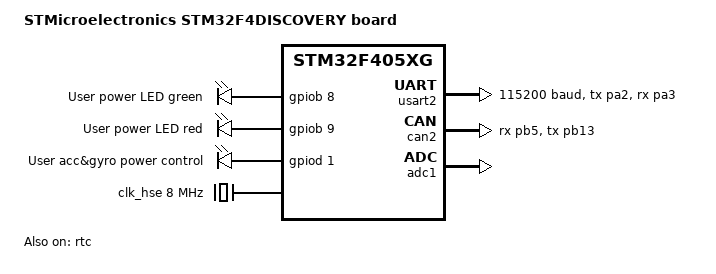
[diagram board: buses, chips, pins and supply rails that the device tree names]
/*
 * Copyright (c) 2017 Linaro Limited
 *
 * SPDX-License-Identifier: Apache-2.0
 */

/dts-v1/;
#include <st/f4/stm32f405Xg.dtsi>
#include <st/f4/stm32f405o(e-g)yx-pinctrl.dtsi>
#include <zephyr/dt-bindings/input/input-event-codes.h>

/ {
	model = "STMicroelectronics STM32F4DISCOVERY board";
	compatible = "st,stm32f4discovery";

	chosen {
		zephyr,console    = &usart2;
		zephyr,shell-uart = &usart2;
		zephyr,sram       = &sram0;
		zephyr,flash      = &flash0;
		zephyr,ccm        = &ccm0;
		zephyr,canbus     = &can2;
	};

	leds {
		compatible = "gpio-leds";
		led_g: gpio_01 {
			gpios = <&gpiob 8 GPIO_ACTIVE_HIGH>;
			label = "User power LED green";
		};
		led_r: gpio_02 {
			gpios = <&gpiob 9 GPIO_ACTIVE_HIGH>;
			label = "User power LED red";
		};
        acc_pm: gpio_03 {
			gpios = <&gpiod 1 GPIO_ACTIVE_HIGH>;
			label = "User acc&gyro power control";
		};
	};

	aliases {
        led0   = &led_g;
        led2   = &led_r;
        accpm0 = &acc_pm;
	};
};

&clk_lsi {
	status = "okay";
};

&clk_hse {
	clock-frequency = <DT_FREQ_M(8)>;
	status = "okay";
};

&pll {
	div-m  = <8>;
	mul-n  = <336>;
	div-p  = <2>;
	div-q  = <7>;
	clocks = <&clk_hse>;
	status = "okay";
};

&rcc {
	clocks          = <&pll>;
	clock-frequency = <DT_FREQ_M(168)>;
	ahb-prescaler   = <1>;
	apb1-prescaler  = <4>;
	apb2-prescaler  = <2>;
};

&usart2 {
	pinctrl-0     = <&usart2_tx_pa2 &usart2_rx_pa3>;
	pinctrl-names = "default";
	current-speed = <115200>;
	status        = "okay";
};


&rtc {
	clocks = <&rcc STM32_CLOCK_BUS_APB1 0x10000000>,
		     <&rcc STM32_SRC_LSI RTC_SEL(2)>;
	status = "okay";

	backup_regs {
		status = "okay";
	};
};


&can2 {
	pinctrl-0     = <&can2_rx_pb5 &can2_tx_pb13>;
	pinctrl-names = "default";
	status        = "okay";
};

&adc1 {
	st,adc-prescaler = <2>;
	status = "okay";
};
